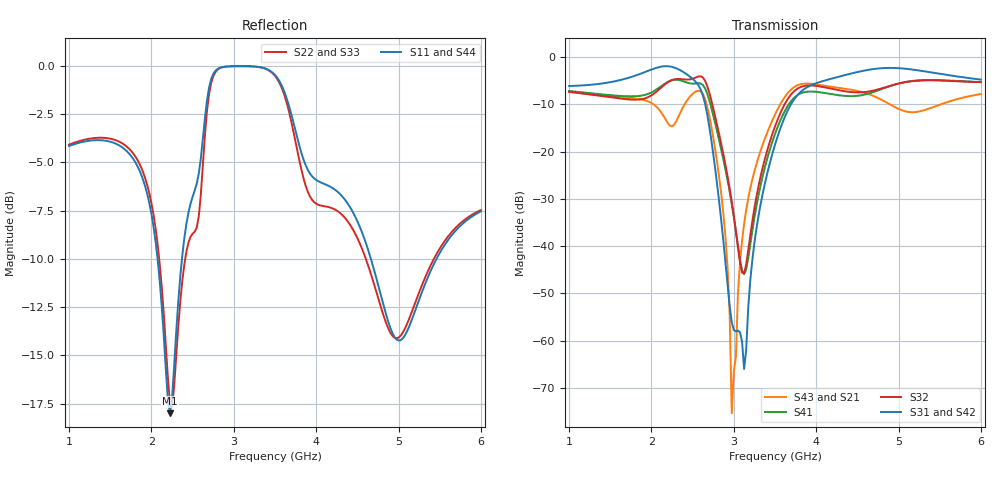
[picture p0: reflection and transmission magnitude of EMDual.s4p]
! Created Mon Sep 11 23:14:18 2023
# hz S ma R 50
! 4 Port Network Data from SP1.SP block
! freq  magS11  angS11  magS12  angS12  magS13  angS13  magS14  angS14
!  magS21  angS21  magS22  angS22  magS23  angS23  magS24  angS24
!  magS31  angS31  magS32  angS32  magS33  angS33  magS34  angS34
!  magS41  angS41  magS42  angS42  magS43  angS43  magS44  angS44
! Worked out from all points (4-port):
!   201 points, 1 GHz to 6 GHz, reference 50 ohm
!   strongest paths, dB at 1 GHz, 2.25 GHz, 3.5 GHz, 4.75 GHz, 6 GHz:
!     S31: -6.2, -2.1, -18.6, -2.4, -4.8
!     S42: -6.2, -2.1, -18.6, -2.4, -4.8
!     S32: -7.3, -4.9, -14.7, -6.9, -5.3
!     S41: -7.2, -4.9, -16.3, -7.1, -5.3
!     S43: -7.4, -14.7, -12.2, -8.7, -7.8
!     S21: -7.4, -14.7, -12.2, -8.7, -7.8
!   lowest |S11| = -18.0 dB at 2.225 GHz (marker M1), VSWR 1.29, Z = 59.7 - j9.9 ohm
!   |S11| at or under -10 dB: 2.074 GHz to 2.371 GHz (296.6 MHz wide, 13.3 % of centre); 4.664 GHz to 5.462 GHz (797.5 MHz wide, 15.8 % of centre)
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1e9  0.6195 158.0  0.4277 -60.7  0.4925 -75.1  0.4365 -63.0
     0.4277 -60.7  0.6246 157.5  0.4291 -62.9  0.4925 -75.1
     0.4925 -75.1  0.4291 -62.9  0.6246 157.5  0.4277 -60.7
     0.4365 -63.0  0.4925 -75.1  0.4277 -60.7  0.6195 158.0
2.225e9  0.1258 -40.4  0.1876 -133.2  0.7926 138.8  0.5588 -137.0
         0.1876 -133.2  0.1335 -30.1  0.5569 -126.4  0.7926 138.8
         0.7926 138.8  0.5569 -126.4  0.1335 -30.0  0.1876 -133.2
         0.5588 -137.0  0.7926 138.8  0.1876 -133.2  0.1259 -40.5
2.7e9  0.8787 179.5  0.2441 111.1  0.1885 -52.2  0.3548 97.2
       0.2441 111.1  0.8464 -173.8  0.4257 102.9  0.1886 -52.3
       0.1885 -52.2  0.4257 102.9  0.8465 -173.8  0.244 111.1
       0.3548 97.2  0.1886 -52.3  0.244 111.1  0.8787 179.5
2.975e9  0.9969 134.0  0.0001653 -153.2  0.001568 -149.0  0.02802 39.6
         0.0001653 -153.2  0.9968 134.2  0.02953 40.0  0.001568 -149.0
         0.001568 -149.0  0.02953 40.0  0.9968 134.2  0.0001709 -152.6
         0.02802 39.6  0.001568 -149.0  0.0001709 -152.6  0.9969 134.0
3.125e9  0.9972 118.3  0.01724 27.3  0.0005025 154.7  0.005055 6.2
         0.01724 27.3  0.9972 117.4  0.00517 6.0  0.0005032 154.8
         0.0005025 154.7  0.00517 6.0  0.9973 117.3  0.01726 27.3
         0.005055 6.2  0.0005032 154.8  0.01726 27.3  0.9972 118.3
3.75e9  0.6769 51.3  0.4908 -70.7  0.3739 -98.8  0.3815 -79.1
        0.4908 -70.7  0.6343 44.1  0.4474 -82.2  0.3738 -98.8
        0.3739 -98.8  0.4474 -82.2  0.6341 44.1  0.4909 -70.7
        0.3815 -79.1  0.3738 -98.8  0.4909 -70.7  0.6768 51.3
6e9  0.4196 100.5  0.4057 142.6  0.5762 -24.0  0.5426 92.3
     0.4057 142.6  0.4228 100.2  0.5407 91.1  0.5761 -24.0
     0.5762 -24.0  0.5407 91.1  0.4226 100.2  0.4057 142.6
     0.5426 92.3  0.5761 -24.0  0.4057 142.6  0.4197 100.5
